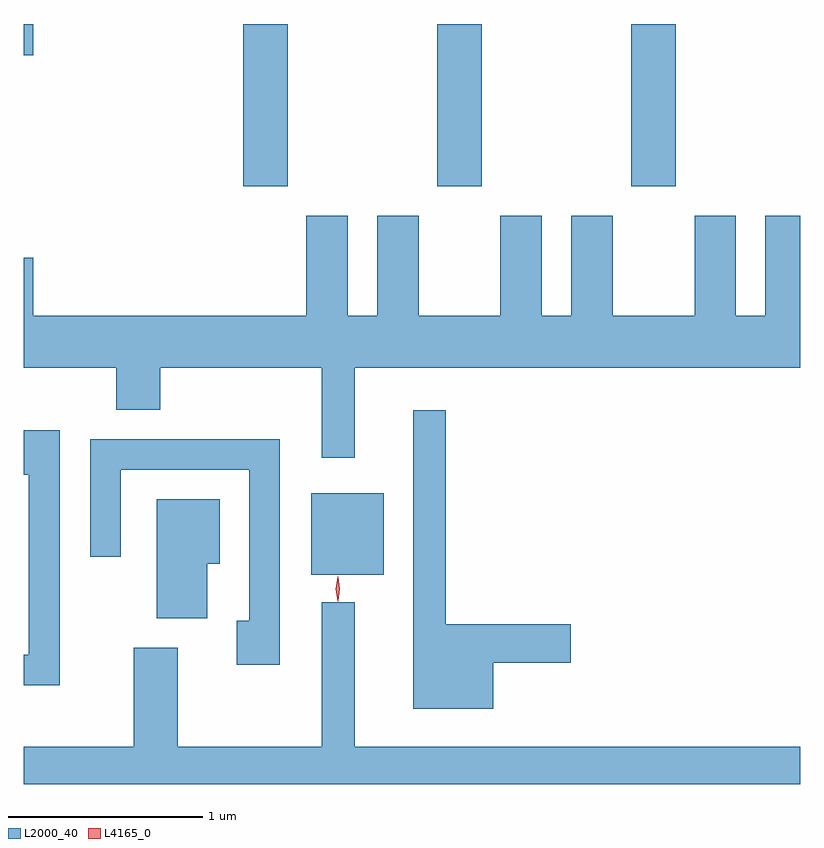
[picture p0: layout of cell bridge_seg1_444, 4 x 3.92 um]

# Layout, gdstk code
import gdstk
lib = gdstk.Library(unit=1e-6, precision=1e-09)
def R(c, l, rs):  # rectangles x0, y0, x1, y1
    for r in rs: c.add(gdstk.rectangle(r[:2], r[2:], *l))
def A(c, l, x, y, w, h, nx, ny, dx, dy):  # array of equal rectangles
    R(c, l, [(x+i*dx, y+j*dy, x+i*dx+w, y+j*dy+h) for i in range(nx) for j in range(ny)])
def P(c, l, *ps):  # polygons
    for p in ps: c.add(gdstk.Polygon(p, *l))
L2000_40 = (2000, 40)
L4165_0 = (4165, 0)

bridge_seg1_444 = lib.new_cell('bridge_seg1_444')
A(bridge_seg1_444, L2000_40, 336.306, 842.791, 0.228, 0.837, 3, 1, 1, 0)
R(bridge_seg1_444, L2000_40, [(336.656,840.791,337.029,841.209), (335.175,843.466,335.224,843.628)])
P(bridge_seg1_444, L2000_40, [(336.879,841.856),(339.175,841.856),(339.175,842.639),(338.996,842.639),(338.996,842.124),(338.844,842.124),(338.844,842.639),(338.631,842.639),(338.631,842.124),(338.209,842.124),(338.209,842.639),(337.996,842.639),(337.996,842.124),(337.844,842.124),(337.844,842.639),(337.631,842.639),(337.631,842.124),(337.209,842.124),(337.209,842.639),(336.996,842.639),(336.996,842.124),(336.844,842.124),(336.844,842.639),(336.631,842.639),(336.631,842.124),(335.224,842.124),(335.224,842.424),(335.175,842.424),(335.175,841.856),(335.651,841.856),(335.651,841.641),(335.879,841.641),(335.879,841.856),(336.711,841.856),(336.711,841.393),(336.879,841.393)],
  [(337.594,840.336),(337.994,840.336),(337.994,840.534),(337.349,840.534),(337.349,841.638),(337.181,841.638),(337.181,840.101),(337.594,840.101)],
  [(335.359,841.534),(335.175,841.534),(335.175,841.306),(335.201,841.306),(335.201,840.379),(335.175,840.379),(335.175,840.221),(335.359,840.221)],
  [(336.494,841.489),(335.516,841.489),(335.516,840.883),(335.674,840.883),(335.674,841.331),(336.336,841.331),(336.336,840.554),(336.271,840.554),(336.271,840.326),(336.494,840.326)],
  [(336.119,840.846),(336.184,840.846),(336.184,841.179),(335.861,841.179),(335.861,840.566),(336.119,840.566)],
  [(339.175,839.904),(336.879,839.904),(336.879,840.648),(336.711,840.648),(336.711,839.904),(335.969,839.904),(335.969,840.414),(335.741,840.414),(335.741,839.904),(335.175,839.904),(335.175,839.712),(339.175,839.712)])
P(bridge_seg1_444, L4165_0, [(336.793,840.653),(336.793,840.653),(336.783,840.717),(336.793,840.781),(336.793,840.782),(336.794,840.781),(336.803,840.717),(336.794,840.653)])

lib.write_gds('bridge_seg1_444.gds')
